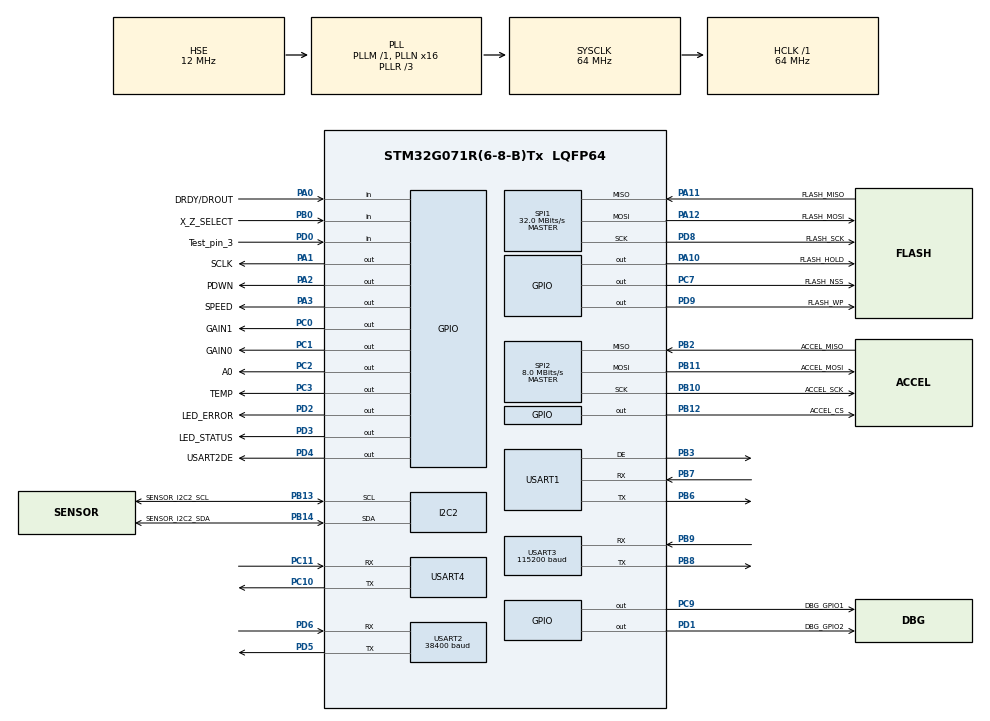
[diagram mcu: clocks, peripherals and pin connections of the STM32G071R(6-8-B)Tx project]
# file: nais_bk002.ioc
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FREERTOS.Tasks01=debugTask,55,384,StartDebugTask,Default,NULL,Dynamic,NULL,NULL;rxCommandsTask,49,384,StartTaskRxCommands,Default,NULL,Dynamic,NULL,NULL;accelTask,51,1024,StartTaskAccelerometer,Default,NULL,Dynamic,NULL,NULL;sensorsPolling,55,384,StartSensorsPolling,Default,NULL,Dynamic,NULL,NULL;ADS1232Task,50,256,StartADS1232Task,Default,NULL,Dynamic,NULL,NULL
FREERTOS.Timers01=maximumsPeriodTimer,maximumsPeriodTimer_callback,osTimerPeriodic,Default,NULL,Dynamic,NULL
FREERTOS.configENABLE_FPU=1
FREERTOS.configMINIMAL_STACK_SIZE=256
FREERTOS.configTIMER_TASK_PRIORITY=0
FREERTOS.configTOTAL_HEAP_SIZE=13312
FREERTOS.configUSE_NEWLIB_REENTRANT=1
FREERTOS.configUSE_PREEMPTION=1
I2C2.Analog_Filter=I2C_ANALOGFILTER_ENABLE
I2C2.Timing=0x10707DBC
Mcu.Family=STM32G0
Mcu.Name=STM32G071R(6-8-B)Tx
Mcu.Package=LQFP64
NVIC.TIM17_IRQn=true\:3\:0\:false\:false\:true\:false\:false\:true\:true
NVIC.TIM2_IRQn=true\:3\:0\:true\:false\:true\:true\:true\:true\:true
NVIC.TimeBase=TIM17_IRQn
NVIC.TimeBaseIP=TIM17
NVIC.USART1_IRQn=true\:3\:0\:false\:false\:true\:true\:true\:true\:true
NVIC.USART2_IRQn=true\:3\:0\:true\:false\:true\:true\:true\:true\:true
NVIC.USART3_4_LPUART1_IRQn=true\:3\:0\:false\:false\:true\:true\:true\:true\:true
PA0.GPIO_Label=DRDY/DROUT
PA0.Signal=GPIO_Input
PA1.GPIO_Label=SCLK
PA1.GPIO_PuPd=GPIO_PULLDOWN
PA1.PinState=GPIO_PIN_RESET
PA1.Signal=GPIO_Output
PA10.GPIO_Label=FLASH_HOLD
PA10.Signal=GPIO_Output
PA11\ [PA9].GPIO_Label=FLASH_MISO
PA11\ [PA9].GPIO_Speed=GPIO_SPEED_FREQ_VERY_HIGH
PA11\ [PA9].Mode=Full_Duplex_Master
PA11\ [PA9].Signal=SPI1_MISO
PA12\ [PA10].GPIO_Label=FLASH_MOSI
PA12\ [PA10].GPIO_Speed=GPIO_SPEED_FREQ_VERY_HIGH
PA12\ [PA10].Mode=Full_Duplex_Master
PA12\ [PA10].Signal=SPI1_MOSI
PA13.Mode=Serial_Wire
PA13.Signal=SYS_SWDIO
PA14-BOOT0.Mode=Serial_Wire
PA14-BOOT0.Signal=SYS_SWCLK
PA2.GPIO_Label=PDWN
PA2.GPIO_PuPd=GPIO_PULLUP
PA2.PinState=GPIO_PIN_SET
PA2.Signal=GPIO_Output
PA3.GPIO_Label=SPEED
PA3.GPIO_PuPd=GPIO_PULLDOWN
PA3.PinState=GPIO_PIN_RESET
PA3.Signal=GPIO_Output
PB0.GPIO_Label=X_Z_SELECT
PB0.GPIO_PuPd=GPIO_PULLUP
PB0.Signal=GPIO_Input
PB10.GPIO_Label=ACCEL_SCK
PB10.GPIO_Speed=GPIO_SPEED_FREQ_VERY_HIGH
PB10.Mode=Full_Duplex_Master
PB10.Signal=SPI2_SCK
PB11.GPIO_Label=ACCEL_MOSI
PB11.GPIO_Speed=GPIO_SPEED_FREQ_VERY_HIGH
PB11.Mode=Full_Duplex_Master
PB11.Signal=SPI2_MOSI
PB12.GPIO_Label=ACCEL_CS
PB12.Signal=GPIO_Output
PB13.GPIO_Label=SENSOR_I2C2_SCL
PB13.Mode=I2C
PB13.Signal=I2C2_SCL
PB14.GPIO_Label=SENSOR_I2C2_SDA
PB14.Mode=I2C
PB14.Signal=I2C2_SDA
PB2.GPIO_Label=ACCEL_MISO
PB2.GPIO_Speed=GPIO_SPEED_FREQ_VERY_HIGH
PB2.Mode=Full_Duplex_Master
PB2.Signal=SPI2_MISO
PB3.Mode=Hardware Flow Control (RS485)
PB3.Signal=USART1_DE
PB6.Mode=Asynchronous
PB6.Signal=USART1_TX
PB7.Mode=Asynchronous
PB7.Signal=USART1_RX
PB8.Mode=Asynchronous
PB8.Signal=USART3_TX
PB9.Mode=Asynchronous
PB9.Signal=USART3_RX
PC0.GPIO_Label=GAIN1
PC0.GPIO_PuPd=GPIO_PULLUP
PC0.PinState=GPIO_PIN_SET
PC0.Signal=GPIO_Output
PC1.GPIO_Label=GAIN0
PC1.GPIO_PuPd=GPIO_PULLUP
PC1.PinState=GPIO_PIN_SET
PC1.Signal=GPIO_Output
PC10.Mode=Asynchronous
PC10.Signal=USART4_TX
PC11.Mode=Asynchronous
PC11.Signal=USART4_RX
PC2.GPIO_Label=A0
PC2.GPIO_PuPd=GPIO_PULLDOWN
PC2.Signal=GPIO_Output
PC3.GPIO_Label=TEMP
PC3.GPIO_PuPd=GPIO_PULLDOWN
PC3.PinState=GPIO_PIN_RESET
PC3.Signal=GPIO_Output
PC7.GPIO_Label=FLASH_NSS
PC7.Signal=GPIO_Output
PC9.GPIO_Label=DBG_GPIO1
PC9.GPIO_Speed=GPIO_SPEED_FREQ_VERY_HIGH
PC9.Signal=GPIO_Output
PD0.GPIO_Label=Test_pin_3
PD0.GPIO_PuPd=GPIO_PULLUP
PD0.Signal=GPIO_Input
PD1.GPIO_Label=DBG_GPIO2
PD1.GPIO_Speed=GPIO_SPEED_FREQ_VERY_HIGH
PD1.Signal=GPIO_Output
PD2.GPIO_Label=LED_ERROR
PD2.Signal=GPIO_Output
PD3.GPIO_Label=LED_STATUS
PD3.Signal=GPIO_Output
PD4.GPIO_Label=USART2DE
PD4.GPIO_PuPd=GPIO_PULLDOWN
PD4.Signal=GPIO_Output
PD5.Mode=Asynchronous
PD5.Signal=USART2_TX
PD6.Mode=Asynchronous
PD6.Signal=USART2_RX
PD8.GPIO_Label=FLASH_SCK
PD8.GPIO_Speed=GPIO_SPEED_FREQ_VERY_HIGH
PD8.Mode=Full_Duplex_Master
PD8.Signal=SPI1_SCK
PD9.GPIO_Label=FLASH_WP
PD9.Signal=GPIO_Output
PF0-OSC_IN\ (PF0).Mode=HSE-External-Oscillator
PF0-OSC_IN\ (PF0).Signal=RCC_OSC_IN
PF1-OSC_OUT\ (PF1).Mode=HSE-External-Oscillator
PF1-OSC_OUT\ (PF1).Signal=RCC_OSC_OUT
ProjectManager.HeapSize=0x200
ProjectManager.StackSize=0x400
ProjectManager.TargetToolchain=STM32CubeIDE
RCC.ADCFreq_Value=64000000
RCC.AHBFreq_Value=64000000
RCC.CortexFreq_Value=64000000
RCC.EXTERNAL_CLOCK_VALUE=48000
RCC.EnbaleCSS=true
RCC.HCLKFreq_Value=64000000
RCC.HSE_VALUE=12000000
RCC.HSI_VALUE=16000000
RCC.LSE_VALUE=32768
RCC.PLLN=16
RCC.PLLQ=RCC_PLLQ_DIV6
RCC.PLLR=RCC_PLLR_DIV3
RCC.PLLSourceVirtual=RCC_PLLSOURCE_HSE
RCC.SYSCLKFreq_VALUE=64000000
RCC.SYSCLKSource=RCC_SYSCLKSOURCE_PLLCLK
RCC.VCOOutputFreq_Value=192000000
SPI1.BaudRatePrescaler=SPI_BAUDRATEPRESCALER_2
SPI1.CalculateBaudRate=32.0 MBits/s
SPI1.DataSize=SPI_DATASIZE_8BIT
SPI1.Direction=SPI_DIRECTION_2LINES
SPI1.Mode=SPI_MODE_MASTER
SPI1.VirtualType=VM_MASTER
SPI2.BaudRatePrescaler=SPI_BAUDRATEPRESCALER_8
SPI2.CalculateBaudRate=8.0 MBits/s
SPI2.DataSize=SPI_DATASIZE_8BIT
SPI2.Direction=SPI_DIRECTION_2LINES
SPI2.Mode=SPI_MODE_MASTER
SPI2.VirtualType=VM_MASTER
TIM1.Prescaler=64-1
TIM2.Period=99
TIM2.Prescaler=63
USART1.VirtualMode-Asynchronous=VM_ASYNC
USART1.VirtualMode-Hardware\ Flow\ Control\ (RS485)=VM_ASYNC
USART2.AutoBaudRateEnableParam=UART_ADVFEATURE_AUTOBAUDRATE_DISABLE
USART2.BaudRate=38400
USART2.FIFOMode=FIFOMODE_ENABLE
USART2.Parity=PARITY_EVEN
USART2.RxPinLevelInvertParam=ADVFEATURE_RXINV_DISABLE
USART2.StopBits=STOPBITS_1
USART2.TxPinLevelInvertParam=ADVFEATURE_TXINV_DISABLE
USART2.VirtualMode-Asynchronous=VM_ASYNC
USART2.WordLength=WORDLENGTH_9B
USART3.BaudRate=115200
USART3.StopBits=STOPBITS_1
USART3.VirtualMode-Asynchronous=VM_ASYNC
USART4.VirtualMode-Asynchronous=VM_ASYNC
VP_FREERTOS_VS_CMSIS_V2.Mode=CMSIS_V2
VP_RTC_VS_RTC_Activate.Mode=RTC_Enabled
VP_SYS_VS_DBSignals.Mode=DisableDeadBatterySignals
VP_SYS_VS_tim17.Mode=TIM17
VP_TIM1_VS_ClockSourceINT.Mode=Internal
VP_TIM2_VS_ClockSourceINT.Mode=Internal
board=custom

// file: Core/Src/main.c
/* USER CODE BEGIN Header */
// This is an open source non-commercial project. Dear PVS-Studio, please check it.
// PVS-Studio Static Code Analyzer for C, C++, C#, and Java: https://pvs-studio.com
/**
  ******************************************************************************
  * @file           : main.c
  * @brief          : Main program body
  ******************************************************************************
  * @attention
  *
  * Copyright (c) 2023 STMicroelectronics.
  * All rights reserved.
  *
  * This software is licensed under terms that can be found in the LICENSE file
  * in the root directory of this software component.
  * If no LICENSE file comes with this software, it is provided AS-IS.
  *
  ******************************************************************************
  */
/* USER CODE END Header */
#include "main.h"
#include "cmsis_os.h"
#include "i2c.h"
#include "rtc.h"
#include "spi.h"
#include "tim.h"
#include "usart.h"
#include "gpio.h"

/* USER CODE BEGIN Includes */
#include "hardware_check.h"
#include "debug.h"
#include <string.h>
#include "stm32g0xx_hal_uart.h"
#include "queue.h"
/* USER CODE END Includes */

/* USER CODE BEGIN PD */
//#define DEBUG
//#define EXTENDED_DEBUG
/* USER CODE END PD */

void SystemClock_Config(void);
void MX_FREERTOS_Init(void);

int main(void)
{

  /* MCU Configuration--------------------------------------------------------*/

  /* Reset of all peripherals, Initializes the Flash interface and the Systick. */
  HAL_Init();

  /* Configure the system clock */
  SystemClock_Config();

  /* Initialize all configured peripherals */
  MX_GPIO_Init();
  MX_I2C2_Init();
  MX_SPI1_Init();
  MX_SPI2_Init();
  MX_USART1_UART_Init();
  MX_USART2_UART_Init();
  MX_USART3_UART_Init();
  MX_TIM1_Init();
  MX_RTC_Init();
  MX_USART4_UART_Init();
  MX_TIM2_Init();
  /* USER CODE BEGIN 2 */

 // if(GPIO_PIN_SET == HAL_GPIO_ReadPin(BAUD_SEL_GPIO_Port, BAUD_SEL_Pin))
  //{
//	  HAL_UART_DeInit(&huart2);
//
//	  huart2.Init.BaudRate = 38400;
//
//	  if (HAL_RS485Ex_Init(&huart2, UART_DE_POLARITY_HIGH, 0, 0) != HAL_OK)
//	  {
//	    Error_Handler();
//	  }
//	  if (HAL_UARTEx_SetTxFifoThreshold(&huart2, UART_TXFIFO_THRESHOLD_1_8) != HAL_OK)
//	  {
//	    Error_Handler();
//	  }
//	  if (HAL_UARTEx_SetRxFifoThreshold(&huart2, UART_RXFIFO_THRESHOLD_1_8) != HAL_OK)
//	  {
//	    Error_Handler();
//	  }
//	  if (HAL_UARTEx_EnableFifoMode(&huart2) != HAL_OK)
//	  {
//	    Error_Handler();
//	  }
 // }

 // debug("\r\n\r\nInited\r\n");
 // HAL_UART_Transmit_IT(terminal_uart, "123456789\r\n", 12);
  /* USER CODE END 2 */

  /* Init scheduler */
  osKernelInitialize();

  /* Call init function for freertos objects (in cmsis_os2.c) */
  MX_FREERTOS_Init();

  /* Start scheduler */
  osKernelStart();

  /* We should never get here as control is now taken by the scheduler */

  /* Infinite loop */
  while (1)
  {

  }
}

void SystemClock_Config(void)
{
  RCC_OscInitTypeDef RCC_OscInitStruct = {0};
  RCC_ClkInitTypeDef RCC_ClkInitStruct = {0};

  /** Configure the main internal regulator output voltage
  */
  HAL_PWREx_ControlVoltageScaling(PWR_REGULATOR_VOLTAGE_SCALE1);

  /** Initializes the RCC Oscillators according to the specified parameters
  * in the RCC_OscInitTypeDef structure.
  */
  RCC_OscInitStruct.OscillatorType = RCC_OSCILLATORTYPE_LSI|RCC_OSCILLATORTYPE_HSE;
  RCC_OscInitStruct.HSEState = RCC_HSE_ON;
  RCC_OscInitStruct.LSIState = RCC_LSI_ON;
  RCC_OscInitStruct.PLL.PLLState = RCC_PLL_ON;
  RCC_OscInitStruct.PLL.PLLSource = RCC_PLLSOURCE_HSE;
  RCC_OscInitStruct.PLL.PLLM = RCC_PLLM_DIV1;
  RCC_OscInitStruct.PLL.PLLN = 16;
  RCC_OscInitStruct.PLL.PLLP = RCC_PLLP_DIV2;
  RCC_OscInitStruct.PLL.PLLQ = RCC_PLLQ_DIV6;
  RCC_OscInitStruct.PLL.PLLR = RCC_PLLR_DIV3;
  if (HAL_RCC_OscConfig(&RCC_OscInitStruct) != HAL_OK)
  {
    Error_Handler();
  }

  /** Initializes the CPU, AHB and APB buses clocks
  */
  RCC_ClkInitStruct.ClockType = RCC_CLOCKTYPE_HCLK|RCC_CLOCKTYPE_SYSCLK
                              |RCC_CLOCKTYPE_PCLK1;
  RCC_ClkInitStruct.SYSCLKSource = RCC_SYSCLKSOURCE_PLLCLK;
  RCC_ClkInitStruct.AHBCLKDivider = RCC_SYSCLK_DIV1;
  RCC_ClkInitStruct.APB1CLKDivider = RCC_HCLK_DIV1;

  if (HAL_RCC_ClockConfig(&RCC_ClkInitStruct, FLASH_LATENCY_2) != HAL_OK)
  {
    Error_Handler();
  }

  /** Enables the Clock Security System
  */
  HAL_RCC_EnableCSS();
}

/* USER CODE BEGIN 4 */
uint32_t crc32b(uint8_t *message, size_t size) {
     int i, j;
     uint32_t byte, crc, mask;

     i = 0;
     crc = 0xFFFFFFFF;
     for(int k = 0; k<size;k++) {
        byte = message[k];            // Get next byte.
        crc = crc ^ byte;
        for (j = 7; j >= 0; j--) {    // Do eight times.
           mask = -(crc & 1);
           crc = (crc >> 1) ^ (0xEDB88320 & mask);
        }
        i = i + 1;
     }
     return ~crc;
  }

/* USER CODE END 4 */

void HAL_TIM_PeriodElapsedCallback(TIM_HandleTypeDef *htim)
{
  if (htim->Instance == TIM17) {
    HAL_IncTick();
  }
  /* USER CODE BEGIN Callback 1 */
  if (htim->Instance == TIM2) {

  	  Timer_Event();
  }
  /* USER CODE END Callback 1 */
}

void Error_Handler(void)
{
  /* USER CODE BEGIN Error_Handler_Debug */
  /* User can add his own implementation to report the HAL error return state */
	__disable_irq();
	HAL_PWR_EnableBkUpAccess();
	HAL_RTCEx_BKUPWrite(&hrtc, RTC_BKP_DR0, 0xAAAA);

	debug("==========\r\n");
	debug("ERROR HANDLER\r\n");
	debug("==========\r\n");

	send_all_debug_buffer_blocking();

	HAL_GPIO_WritePin(LED_ERROR_GPIO_Port, LED_ERROR_Pin, GPIO_PIN_SET);

	HAL_NVIC_SystemReset();

  while (1)
  {
  }
  /* USER CODE END Error_Handler_Debug */
}

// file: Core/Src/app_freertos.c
/* USER CODE BEGIN Header */
// This is an open source non-commercial project. Dear PVS-Studio, please check it.
// PVS-Studio Static Code Analyzer for C, C++, C#, and Java: https://pvs-studio.com
/**
 ******************************************************************************
 * File Name          : app_freertos.c
 * Description        : Code for freertos applications
 ******************************************************************************
 * @attention
 *
 * Copyright (c) 2023 STMicroelectronics.
 * All rights reserved.
 *
 * This software is licensed under terms that can be found in the LICENSE file
 * in the root directory of this software component.
 * If no LICENSE file comes with this software, it is provided AS-IS.
 *
 ******************************************************************************
 */
/* USER CODE END Header */

#include "FreeRTOS.h"
#include "task.h"
#include "main.h"
#include "cmsis_os.h"

/* USER CODE BEGIN Includes */
#include "spi.h"
#include "i2c.h"
#include "usart.h"

#include "hardware_check.h"
#include "stm32g0xx_it.h"
#include <string.h>
#include <stdio.h>
#include <stdint.h>

#include <math.h>
#include "MyFlash.h"
#include <stdlib.h>

#include "lis331dlh.h"
#include "calc_length.h"
#include "debug.h"

#include "lps22.h"
#include "hdc1080.h"
#include "sensors_state.h"

#include <stdbool.h>
#include "rtc.h"
#include "ADS1232.h"
#include "queue.h"
/* USER CODE END Includes */

/* USER CODE BEGIN PTD */
typedef enum {
	PARSER_S4x = 0,
		PARSER_S3x,
		PARSER_Sxx,
		PARSER_S98,
		PARSER_MSV70,
		PARSER_BDR,
		PARSER_MSV7,
		PARSER_IDN7,
		PARSER_ADR7,
		PARSER_ADRNUM,
		PARSER_STP,
		PARSER_EMPT,
		PARSER_COF,
		PARSER_DEGREE
} parser_state_t; //7==?

struct SensorsState sensorsState;

typedef struct {
	uint8_t number;
	uint8_t number_ch;
} platform_switches_state_t;

void ADS_Callback(uint32_t value);
/* USER CODE END PTD */

/* USER CODE BEGIN PD */
#define timer_period 600000
/* USER CODE END PD */

/* USER CODE BEGIN Variables */

uint8_t transmitting_command[22];
uint8_t received_command[22];	//буфер приема данных от терминала
uint16_t received_number = 0;
uint16_t COF = 28;
//uint32_t received_BDR = 0;
uint32_t ads_val;
uint8_t is_data_received = 0;
uint32_t test1 = 0x78730B00;
uint32_t test2 = 0x000B7378;
int IDN=0;
uint8_t RX_command_buff[1]={0};
int RX_command_count=0;
int MSV0 = 0;
int MSV = 0;
int S0X = 0;
int ADR = 0;
volatile uint8_t need_send_pressure = 0;
volatile uint8_t presshum = 0;
//int END_Cmd=0;
parser_state_t terminal_parser_state = PARSER_EMPT;

LPS22HB_sensor LPS_data;

HDC_sensor HDC_config = {
		.temperature_resolution = Temperature_Resolution_14_bit,
		.humidity_resolution = Humidity_Resolution_14_bit,
};

lis331dlh_t config = {
	.data_rate = DATA_RATE_100,
	.range = FULL_SCALE_2G,
};

platform_switches_state_t platform_number= {'0','3'};

//const char str_idn[]="HBM,C16iC3/30t     ,3319402,P80\r\n";
struct sensor_inf {
	uint8_t platform_adr[2];
	uint32_t received_BDR;
	//uint8_t crc_platform;
} sensor_inf __attribute__((aligned(8)));
int16_t number_sn = 0;
int offset = 0;
uint16_t serial_number =0;// СЕР�?ЙНЫЙ НОМЕР ПЛАТЫ (от 0 до 65535 включительно)
int16_t serial_number_control=0;
bool is_error = 0;
bool case_opened = 0;

bool period_expired = false;

float maximum_move_in_period = 0;
float max_acceleration_in_period = 0;

extern TIM_HandleTypeDef htim2;
xQueueHandle g_mesQueue;
/* USER CODE END Variables */
/* Definitions for debugTask */
osThreadId_t debugTaskHandle;
const osThreadAttr_t debugTask_attributes = {
  .name = "debugTask",
  .priority = (osPriority_t) osPriorityRealtime7,
  .stack_size = 384 * 4
};
/* Definitions for rxCommandsTask */
osThreadId_t rxCommandsTaskHandle;
const osThreadAttr_t rxCommandsTask_attributes = {
  .name = "rxCommandsTask",
  .priority = (osPriority_t) osPriorityRealtime1,
  .stack_size = 384 * 4
};
/* Definitions for accelTask */
osThreadId_t accelTaskHandle;
const osThreadAttr_t accelTask_attributes = {
  .name = "accelTask",
  .priority = (osPriority_t) osPriorityRealtime3,
  .stack_size = 1024 * 4
};
/* Definitions for sensorsPolling */
osThreadId_t sensorsPollingHandle;
const osThreadAttr_t sensorsPolling_attributes = {
  .name = "sensorsPolling",
  .priority = (osPriority_t) osPriorityRealtime7,
  .stack_size = 384 * 4
};
/* Definitions for ADS1232Task */
osThreadId_t ADS1232TaskHandle;
const osThreadAttr_t ADS1232Task_attributes = {
  .name = "ADS1232Task",
  .priority = (osPriority_t) osPriorityRealtime2,
  .stack_size = 256 * 4
};
/* Definitions for maximumsPeriodTimer */
osTimerId_t maximumsPeriodTimerHandle;
const osTimerAttr_t maximumsPeriodTimer_attributes = {
  .name = "maximumsPeriodTimer"
};

/* USER CODE BEGIN FunctionPrototypes */
void check_errors();
void check_need_send_pressure() {

	// с вероятностью 50% шлётся либо давление, либо влажность
	// можно сделать с помощью need_send_pressure, но его нужно сделать volatile
	if (1 == need_send_pressure) {
		// из hPa в атм
		float pressure = LPS_data.last_pressure / 1000;
		pressure = fmax(pressure, 0.5);
		pressure = fmin(pressure, 2.0);

		presshum = 128 + ((pressure - 0.5) / 1.5f * 100); // 1 деление = 0.015 атмосферы

		need_send_pressure = 0;

	}
	else {
		presshum = HDC_config.last_humidity;
		need_send_pressure = 1;
	}
}
void get_platform_number() {

//	platform_number.number |= (!HAL_GPIO_ReadPin(PLATFORM_ADDR_1_GPIO_Port, PLATFORM_ADDR_1_Pin) << 0);
//	platform_number.number |= (!HAL_GPIO_ReadPin(PLATFORM_ADDR_2_GPIO_Port, PLATFORM_ADDR_2_Pin) << 1);
//	platform_number.number |= (!HAL_GPIO_ReadPin(PLATFORM_ADDR_3_GPIO_Port, PLATFORM_ADDR_3_Pin) << 2);
//	platform_number.number |= (!HAL_GPIO_ReadPin(PLATFORM_ADDR_4_GPIO_Port, PLATFORM_ADDR_4_Pin) << 3);
//
//	for (int i = 0; i < 4; i++) {
//		if (platform_number.number & (1 << i)) {
//			platform_number.number = i;
//			break;
//		}
//	}
//
//	platform_number.number_ch = '0' + platform_number.number;
//
//	debug("PLATFORM NUMBER: %d \r\n", platform_number.number);
}

/* USER CODE END FunctionPrototypes */

void StartDebugTask(void *argument);
void StartTaskRxCommands(void *argument);
void StartTaskAccelerometer(void *argument);
void StartSensorsPolling(void *argument);
void StartADS1232Task(void *argument);
void maximumsPeriodTimer_callback(void *argument);

void MX_FREERTOS_Init(void); /* (MISRA C 2004 rule 8.1) */

void MX_FREERTOS_Init(void) {
  /* USER CODE BEGIN Init */

	g_mesQueue = xQueueCreate(2, 22);
	serial_number =(uint16_t)(crc32b((uint8_t *)UID_BASE, 8));
	serial_number = abs((int16_t)serial_number);
	serial_number_control = abs((int16_t)serial_number);
	ReadDeviceAddressOffset((uint8_t*) &sensor_inf, sizeof(sensor_inf), offset);
	//memset(transmitting_command, 0, sizeof(transmitting_command));
	while (sensor_inf.platform_adr[0]!=0xFF)
	{
		if(offset>=248){
//
			offset=0;
			clearFlash();
			break;
		}
		offset+=sizeof(sensor_inf);
		ReadDeviceAddressOffset((uint8_t*) &sensor_inf, sizeof(sensor_inf), offset);
	}
	if(offset<8){

		//ReadDeviceAddressOffset((uint8_t*) &sensor_inf, sizeof(sensor_inf), offset);
		memset(&sensor_inf, 0, sizeof(sensor_inf));
		sensor_inf.platform_adr[0]='0';
		sensor_inf.platform_adr[1]='1';
		number_sn = 1;
		sensor_inf.received_BDR=38400;
		WriteDeviceAddressOffset((uint8_t*) &sensor_inf, sizeof(sensor_inf), offset);
		offset+=sizeof(sensor_inf);
	}
	if(offset>=8){

		offset-=sizeof(sensor_inf);
		ReadDeviceAddressOffset((uint8_t*) &sensor_inf, sizeof(sensor_inf), offset);
		offset+=sizeof(sensor_inf);
		number_sn = 0;
		for (int i = 0; i <= 1; i++) {
			if (sensor_inf.platform_adr[i] >= '0'
					&& sensor_inf.platform_adr[i] <= '9') {
				number_sn = number_sn * 10 + (sensor_inf.platform_adr[i] - '0');
			}
		}
	}

	 while (!(USART2->ISR & USART_ISR_TC)) {
	 // Ожидание, пока передача завершится
	 }

	 // Отключаем USART перед изменением настроек
	 USART2->CR1 &= ~USART_CR1_UE;
     // �?зменение скорости
	 USART2->BRR = (SystemCoreClock+12800) / sensor_inf.received_BDR;
	 // Включаем USART обратно
	 USART2->CR1 |= USART_CR1_UE;

	//ReadDeviceAddressOffset((uint8_t*) &sensor_inf, sizeof(sensor_inf), offset);
	//offset+=sizeof(sensor_inf);
	//clearFlash();
	//WriteDeviceAddressOffset((uint8_t*)&sensor_inf, sizeof(sensor_inf), offset);
	sensorsState.hdc_fail = 0;
	sensorsState.lps_fail = 0;
	 set_ADS_pins(GPIOA,
	  			  GPIOA,
	  			  GPIOA,
	  			  GPIO_PIN_0,
	  			  GPIO_PIN_1,
				  GPIO_PIN_2,
				  &ADS_Callback);
  /* USER CODE END Init */

  /* Create the timer(s) */
  /* creation of maximumsPeriodTimer */
  maximumsPeriodTimerHandle = osTimerNew(maximumsPeriodTimer_callback, osTimerPeriodic, NULL, &maximumsPeriodTimer_attributes);

  /* Create the thread(s) */
  /* creation of debugTask */
  debugTaskHandle = osThreadNew(StartDebugTask, NULL, &debugTask_attributes);

  /* creation of rxCommandsTask */
  rxCommandsTaskHandle = osThreadNew(StartTaskRxCommands, NULL, &rxCommandsTask_attributes);

  /* creation of accelTask */
  accelTaskHandle = osThreadNew(StartTaskAccelerometer, NULL, &accelTask_attributes);

  /* creation of sensorsPolling */
  sensorsPollingHandle = osThreadNew(StartSensorsPolling, NULL, &sensorsPolling_attributes);

  /* creation of ADS1232Task */
  ADS1232TaskHandle = osThreadNew(StartADS1232Task, NULL, &ADS1232Task_attributes);

}

void StartDebugTask(void *argument)
{
  /* USER CODE BEGIN StartDebugTask */

  /* Infinite loop */
	check_errors();

	get_platform_number();

	osTimerStart(maximumsPeriodTimerHandle, timer_period);	// запуск таймера с периодом срабатывания 10 минут
//	debug("\r\nSN: %05d\r\n", serial_number);
//	debug("\r\nMax mediums timer set to %d ms\r\n", timer_period);

	if (!debug_enabled()) {

		uint8_t message_sn[64] = { 0, };
		memset(message_sn, 0, sizeof(message_sn));

		int size = snprintf((char *)message_sn, sizeof(message_sn), "SN: %05d \r\n", serial_number);

		if (size > 0) {
			HAL_UART_Transmit(debug_uart, message_sn, size, 100);
		}

	}

	vTaskDelay(100);

	for (;;) {

		send_debug_messages();

		if (!debug_enabled()) {

			float max_acceleration = round_and_limit_float(get_real_acc());

			float maximum_move = round_and_limit_float(get_real_length());

			uint8_t message[256] = { 0, };
			memset(message, 0, sizeof(message));

			int size = snprintf((char *)message, sizeof(message),
				"ACCEL: 0x%08X, LENGTH: 0x%08X, MAX_ACCEL: 0x%08X, MAX_LENGTH: 0x%08X, PRESSURE: %.2f HUMIDITY: %d, TEMP %.2f\r\n\nACCEL: %06.2f,     LENGTH: %06.2f,     MAX_ACCEL: %06.2f,     MAX_LENGTH: %06.2f\r\n\n",
				*(uint32_t*)&max_acceleration, *(uint32_t*)&maximum_move,
				*(uint32_t*)&max_acceleration_in_period, *(uint32_t*)&maximum_move_in_period,
				(LPS_data.last_pressure / 1024.0), HDC_config.last_humidity,
				HDC_config.last_temperature,
				max_acceleration, maximum_move,
				max_acceleration_in_period, maximum_move_in_period);

//			if (size > 0) {
//			//	HAL_UART_Transmit(debug_uart, message, size, 100);
//			}

		}

		HAL_GPIO_TogglePin(LED_STATUS_GPIO_Port, LED_STATUS_Pin);
		vTaskDelay(100);
	}

  /* USER CODE END StartDebugTask */
}

void StartTaskRxCommands(void *argument) {
	/* USER CODE BEGIN StartTaskRxCommands */
	/* Infinite loop */
	uint32_t ulNotifiedValue;
	const TickType_t xBlockTime = pdMS_TO_TICKS(500);
	memset(received_command, 0x0, sizeof(received_command));
	memset(transmitting_command, 0x0, sizeof(transmitting_command));

	//receive(terminal_uart, received_command, 1);
	receive(terminal_uart, RX_command_buff, 1);
	for (;;) {

//		    ulNotifiedValue = ulTaskNotifyTake( pdFALSE, xBlockTime );

		if (uxQueueMessagesWaiting(g_mesQueue) == 0) {
			continue;
		}

		uint8_t receive_buf[22];
		xQueueReceive(g_mesQueue, receive_buf, 0);
		HAL_GPIO_WritePin(LED_STATUS_GPIO_Port, LED_STATUS_Pin, GPIO_PIN_SET);

		debug("Received <<%s>>\r\n", receive_buf);
//			if (strlen(receive_buf)==0){
//
//				osDelay(1);
//			}

		if (terminal_parser_state == PARSER_S3x) { // если посылка S3x;
			// нахождение максимума и ограничение максимальным значением (значение 1 байта)
			uint8_t maximum = round(
					fmax(round_and_limit(get_max_positive_move() * 10 / 2, 255),
							round_and_limit(get_max_negative_move() * 10 / 2,
									255)));

			switch (receive_buf[2]) // Анализируем третий символ, отвечающий за конкретную команду
			{
			case '3':	          	 	//	Запрос ID
				memcpy(transmitting_command, "BTS4", 4);

				HAL_GPIO_WritePin(GPIOD, GPIO_PIN_4, GPIO_PIN_SET);

				HAL_UART_Transmit_IT(terminal_uart, transmitting_command, 4);
				terminal_parser_state = PARSER_EMPT;
				debug("Transmit to terminal: <%02x %02x %02x %02x>",
						transmitting_command[0], transmitting_command[1],
						transmitting_command[2], transmitting_command[3]);
				break;

			case '6'://	запрос макс значений перемещщения, температуры и влаги
				check_need_send_pressure();

				transmitting_command[0] = maximum;//сюда вставляем максимальное значение перемещения в плюс умноженное на 10 (плюс и минус - это число абсолютного смешения платформы от центра до переднего и заднего края, умноженное на 10)
				transmitting_command[1] = maximum; //сюда вставляем максимальное значение перемещения в минус умноженное на 10
				transmitting_command[2] = HDC_config.last_temperature;
				transmitting_command[3] = presshum;

				HAL_GPIO_WritePin(GPIOD, GPIO_PIN_4, GPIO_PIN_SET);

				HAL_UART_Transmit_IT(terminal_uart, transmitting_command, 4);
				terminal_parser_state = PARSER_EMPT;
				debug("Transmit to terminal: <%02x %02x %02x %02x>\r\n",
						transmitting_command[0], transmitting_command[1],
						transmitting_command[2], transmitting_command[3]);
				//					HAL_GPIO_TogglePin(DBG_GPIO3_GPIO_Port, DBG_GPIO3_Pin);
				break;

			case '8': 	//	запрос макс значений перемещения и ускорения
				transmitting_command[0] = maximum; //сюда вставляем максимальное значение перемещения в плюс умноженное на 10
				transmitting_command[1] = maximum; //сюда вставляем максимальное значение перемещения в минус умноженное на 10
				transmitting_command[2] = round_and_limit(
						get_max_positive_acceleration() * 10, 255.0f); //сюда вставляем максимальное значение ускорения в плюс умноженное на 10
				transmitting_command[3] = round_and_limit(
						get_max_negative_acceleration() * 10, 255.0f); //сюда вставляем максимальное значение ускорения в минус умноженное на 10

				HAL_GPIO_WritePin(GPIOD, GPIO_PIN_4, GPIO_PIN_SET);
				HAL_UART_Transmit_IT(terminal_uart, transmitting_command, 4);
				terminal_parser_state = PARSER_EMPT;
				debug("Transmit to terminal: <%02x %02x %02x %02x>\r\n",
						transmitting_command[0], transmitting_command[1],
						transmitting_command[2], transmitting_command[3]);

				break;

			case '0':	//	запрос серии данных
			case '2':	//	запрос скорости связи 9600

				// DeInit и Init UARTа вешает обмен до ресета, поэтому скорость меняем прямой записью в регистр
				//terminal_uart->Instance->BRR = (uint32_t)(UART_DIV_SAMPLING16(64000000, 9600, 1));
				break;

			case '4':	//	Запоминание 0 ускорения (датчик вертикально)
			case '5':	//	Калибровка 1g (датчик горизонтально)
			case '7'://	запрос максимального значения перемещения, ускорения, температуры и влаги
			case '9':	//	запрос скорости связи 19200

				//terminal_uart->Instance->BRR = (uint32_t)(UART_DIV_SAMPLING16(64000000, 19200, 1));
				break;
			}
		}

		if (terminal_parser_state == PARSER_S4x) { // если посылка S4x;
			int16_t number_bk = 0;
			int END_Cmd = 0;
			for (int i = 0; i < 22; i++) {
				if (receive_buf[i] != ';') {

					END_Cmd = END_Cmd + 1;
				}
				if (receive_buf[i] == ';') {

					break;
				}
			}

			for (int i = 2; i < END_Cmd; i++) {
				if (receive_buf[i] >= '0' && receive_buf[i] <= '9') {
					number_bk = number_bk * 10 + (receive_buf[i] - '0');
				}

			}

			if (number_bk == number_sn - 1) { //другое условие

				float maximum = round_and_limit_float(get_real_length());

				float max_acceleration = round_and_limit_float(get_real_acc());

				uint8_t flags = 0;
				flags |= (case_opened << 0);
				flags |= (is_error << 1);
				if (is_error)
					is_error = false; // сбрасываем флаг ошибки после отправки на терминал

				transmitting_command[0] = HDC_config.last_temperature;
				transmitting_command[1] = HDC_config.last_humidity;
				transmitting_command[2] = flags;
				transmitting_command[3] = (((LPS_data.last_pressure / 1000)
						- 0.5) / 1.5 * 100);

				memcpy(&transmitting_command[4], &maximum, 4);
				memcpy(&transmitting_command[8], &max_acceleration, 4);
				memcpy(&transmitting_command[12], &maximum_move_in_period, 4);
				memcpy(&transmitting_command[16], &max_acceleration_in_period,
						4);
				memcpy(&transmitting_command[20], &serial_number_control, 2);

				HAL_GPIO_WritePin(GPIOD, GPIO_PIN_4, GPIO_PIN_SET);

				HAL_UART_Transmit_IT(terminal_uart, transmitting_command, 22);

				//memset(transmitting_command, 0, sizeof(transmitting_command));
				//	memset(receive_buf, 0, sizeof(receive_buf));
				terminal_parser_state = PARSER_EMPT;

				debug(
						"Transmit to terminal: <%02x %02x %02x %02x  %02x %02x %02x %02x  %02x %02x %02x %02x  %02x %02x %02x %02x  %02x %02x %02x %02x  %02x %02x>",
						transmitting_command[0], transmitting_command[1],
						transmitting_command[2], transmitting_command[3],
						transmitting_command[4], transmitting_command[5],
						transmitting_command[6], transmitting_command[7],
						transmitting_command[8], transmitting_command[9],
						transmitting_command[10], transmitting_command[11],
						transmitting_command[12], transmitting_command[13],
						transmitting_command[14], transmitting_command[15],
						transmitting_command[16], transmitting_command[17],
						transmitting_command[18], transmitting_command[19],
						transmitting_command[20], transmitting_command[21]);
			}
		}

		if (terminal_parser_state == PARSER_Sxx) { // если посылка S0x;

			uint8_t flags = 0;
			flags |= (case_opened << 0);
			flags |= (is_error << 1);
			if (is_error)
				is_error = false; // сбрасываем флаг ошибки после отправки на терминал

			if (MSV == 0 && ADR == 0 && MSV0 == 0) {

				IDN = 1;

			}

			if (MSV0 == 1 && ADR == 0) { // Анализируем третий символ, отвечающий за конкретный БК
				IDN = 0;
				uint8_t buf[4] = { 0, 0, 0, 0 };
				//uint32_t val = (ads_val*100)/421 ;
				//uint32_t val = (8388607*100)/421 ;
				//uint32_t val =  1401366;
				uint32_t val = (ads_val);
				//	отправ	EE FF 0B 00
				//0x78730B00;

				if (COF == 28) {
					buf[3] = (val >> (2 * 8)) & 0xFF;
					buf[2] = (val >> (1 * 8)) & 0xFF;
					buf[1] = (val >> (0 * 8)) & 0xFF;
					buf[0] = buf[1] ^ buf[2] ^ buf[3];

					HAL_GPIO_WritePin(GPIOD, GPIO_PIN_4, GPIO_PIN_SET);

					HAL_UART_Transmit_IT(terminal_uart, buf, 4);
					debug("Transmit to terminal: <%x>", buf);

				}
				if (COF == 3) {
					char SOX_VAL[50];
					sprintf(SOX_VAL, "%lu", val);

					HAL_GPIO_WritePin(GPIOD, GPIO_PIN_4, GPIO_PIN_SET);
					HAL_UART_Transmit_IT(terminal_uart, (uint8_t*) SOX_VAL,
							strlen(SOX_VAL));

					debug("Transmit to terminal: <%x>", buf);

				}

			}
			if (ADR == 1 && MSV0 == 0) {// Анализируем третий символ, отвечающий за конкретный БК
				char str_adr[20];
				sprintf(str_adr, "%c%c\r\n", sensor_inf.platform_adr[0],
						sensor_inf.platform_adr[1]);

				HAL_GPIO_WritePin(GPIOD, GPIO_PIN_4, GPIO_PIN_SET);
				HAL_UART_Transmit_IT(terminal_uart, (uint8_t*) str_adr,
						strlen(str_adr));
				number_sn = 0;
				for (int i = 0; i <= 1; i++) {
					if (sensor_inf.platform_adr[i] >= '0'
							&& sensor_inf.platform_adr[i] <= '9') {
						number_sn = number_sn * 10 + (sensor_inf.platform_adr[i] - '0');
					}

				}

				ADR = 0;
			}
			if (MSV == 1 && ADR == 0 && MSV0 == 0) {// Анализируем третий символ, отвечающий за конкретный БК

				uint8_t buf[4] = { 0, 0, 0, 0 };
				//uint32_t val = (ads_val*100)/421 ;
				//uint32_t val = (8388607*100)/421 ;
				//uint32_t val =  1401366;
				uint32_t val = (ads_val);
				//	отправ	EE FF 0B 00
				//0x78730B00;
				if (COF == 28) {
					buf[3] = (val >> (2 * 8)) & 0xFF;
					buf[2] = (val >> (1 * 8)) & 0xFF;
					buf[1] = (val >> (0 * 8)) & 0xFF;
					buf[0] = buf[1] ^ buf[2] ^ buf[3];

					HAL_GPIO_WritePin(GPIOD, GPIO_PIN_4, GPIO_PIN_SET);

					HAL_UART_Transmit_IT(terminal_uart, buf, 4);
					debug("Transmit to terminal: <%x>", buf);

				}
				if (COF == 3) {
					char SOX_VAL[50];
					sprintf(SOX_VAL, "%lu", val);

					HAL_GPIO_WritePin(GPIOD, GPIO_PIN_4, GPIO_PIN_SET);
					HAL_UART_Transmit_IT(terminal_uart, (uint8_t*) SOX_VAL,
							strlen(SOX_VAL));

					debug("Transmit to terminal: <%x>", buf);

				}
				S0X = 1;
				MSV = 0;
			}

			//		memset(receive_buf, 0, sizeof(receive_buf));
			terminal_parser_state = PARSER_EMPT;
		}

		if (terminal_parser_state == PARSER_MSV70) { // если посылка Sxx;

			uint8_t flags = 0;
			flags |= (case_opened << 0);
			flags |= (is_error << 1);
			if (is_error)
				is_error = false; // сбрасываем флаг ошибки после отправки на терминал

			MSV0 = 1;
			//HAL_UART_Transmit_IT(terminal_uart, &MSV, 1);
			debug("Transmit to terminal: <%x>", &MSV0);
			//	memset(receive_buf, 0, sizeof(receive_buf));
			terminal_parser_state = PARSER_EMPT;

		}

		if (terminal_parser_state == PARSER_COF) {
			int END_Cmd = 0;
			uint8_t flags = 0;
			flags |= (case_opened << 0);
			flags |= (is_error << 1);
			if (is_error)
				is_error = false; // сбрасываем флаг ошибки после отправки на терминал

			COF = 0;

			for (int i = 0; i < 22; i++) {
				if (receive_buf[i] != ';') {
					END_Cmd = END_Cmd + 1;
				}
				if (receive_buf[i] == ';') {
					break;;
				}
			}
			for (int i = 3; i < END_Cmd; i++) {
				if (receive_buf[i] >= '0' && receive_buf[i] <= '9') {
					COF = COF * 10 + (receive_buf[i] - '0');
				}
			}
			//HAL_UART_Transmit_IT(terminal_uart, &MSV, 1);
			debug("Transmit to terminal: <%x>", &MSV);
			//	memset(receive_buf, 0, sizeof(receive_buf));
			terminal_parser_state = PARSER_EMPT;

		}

			if (terminal_parser_state == PARSER_MSV7) { // если посылка Sxx;

				uint8_t flags = 0;
				flags |= (case_opened << 0);
				flags |= (is_error << 1);
				if (is_error)
					is_error = false; // сбрасываем флаг ошибки после отправки на терминал

				MSV = 1;

				//HAL_UART_Transmit_IT(terminal_uart, &MSV, 1);
				debug("Transmit to terminal: <%x>", &MSV);
				//	memset(receive_buf, 0, sizeof(receive_buf));
				terminal_parser_state = PARSER_EMPT;

			}

		if (terminal_parser_state == PARSER_STP) { // если посылка Sxx;
			uint8_t flags = 0;
			flags |= (case_opened << 0);
			flags |= (is_error << 1);
			if (is_error)
				is_error = false; // сбрасываем флаг ошибки после отправки на терминал

			// Анализируем третий символ, отвечающий за конкретный БК
			ADR = 0;
			MSV = 0;
			MSV0 = 0;
			//HAL_UART_Transmit_IT(terminal_uart, &MSV, 1);
			//	memset(receive_buf, 0, sizeof(receive_buf));
			terminal_parser_state = PARSER_EMPT;

		}

		if (terminal_parser_state == PARSER_ADR7) { // если посылка S0x;

			uint8_t flags = 0;
			flags |= (case_opened << 0);
			flags |= (is_error << 1);
			if (is_error)
				is_error = false; // сбрасываем флаг ошибки после отправки на терминал

			// Анализируем третий символ, отвечающий за конкретный БК
			ADR = 1;
			//	memset(receive_buf, 0, sizeof(receive_buf));
			terminal_parser_state = PARSER_EMPT;

		}

		if (terminal_parser_state == PARSER_ADRNUM) { // если посылка S0x;

			uint8_t flags = 0;
			flags |= (case_opened << 0);
			flags |= (is_error << 1);
			if (is_error)
				is_error = false; // сбрасываем флаг ошибки после отправки на терминал
			received_number = 0;
			for (int i = 7; i < 14; i++) {
				if (receive_buf[i] >= '0' && receive_buf[i] <= '9') {
					received_number = received_number * 10
							+ (receive_buf[i] - '0');
				}

			}

			// Проверка serial_number
			if (received_number == serial_number) {
				memset(sensor_inf.platform_adr, '0',
						sizeof(sensor_inf.platform_adr));
				sensor_inf.platform_adr[0] = receive_buf[3];
				sensor_inf.platform_adr[1] = receive_buf[4];
				// clearFlash();
				//offset=0;
				if (offset >= 248) {

					offset = 0;
					clearFlash();
				}
				taskENTER_CRITICAL();
				WriteDeviceAddressOffset((uint8_t*) &sensor_inf,
						sizeof(sensor_inf), offset);
				taskEXIT_CRITICAL();

				offset += sizeof(sensor_inf);
			}
			//	 memset(receive_buf, 0, sizeof(receive_buf));
			//sensor_inf.crc_platform=(uint8_t)(crc32b((uint8_t *)sensor_inf.platform_adr, 2));
			terminal_parser_state = PARSER_EMPT;

		}

		if (terminal_parser_state == PARSER_BDR) { // если посылка S0x;
			int END_Cmd = 0;
			uint8_t flags = 0;
			flags |= (case_opened << 0);
			flags |= (is_error << 1);
			if (is_error)
				is_error = false; // сбрасываем флаг ошибки после отправки на терминал
			sensor_inf.received_BDR = 0;

			for (int i = 0; i < 22; i++) {
				if (receive_buf[i] != ';') {
					END_Cmd = END_Cmd + 1;
				}
				if (receive_buf[i] == ';') {
					break;;
				}
			}

			for (int i = 3; i < END_Cmd; i++) {
				if (receive_buf[i] >= '0' && receive_buf[i] <= '9') {
					sensor_inf.received_BDR = sensor_inf.received_BDR * 10
							+ (receive_buf[i] - '0');
				}

			}

			while (!(USART2->ISR & USART_ISR_TC)) {
				// Ожидание, пока передача завершится
			}

			// Отключаем USART перед изменением настроек
			USART2->CR1 &= ~USART_CR1_UE;

			// �?зменение скорости
			USART2->BRR = (SystemCoreClock + 12800) / sensor_inf.received_BDR;

			// Включаем USART обратно
			USART2->CR1 |= USART_CR1_UE;

			taskENTER_CRITICAL();
			WriteDeviceAddressOffset((uint8_t*) &sensor_inf, sizeof(sensor_inf),
					offset);
			taskEXIT_CRITICAL();
			offset += sizeof(sensor_inf);
			//    memset(receive_buf, 0, sizeof(receive_buf));
			terminal_parser_state = PARSER_EMPT;

		}

		if (terminal_parser_state == PARSER_IDN7) { // если посылка S0x;

			uint8_t flags = 0;
			flags |= (case_opened << 0);
			flags |= (is_error << 1);
			if (is_error)
				is_error = false; // сбрасываем флаг ошибки после отправки на терминал
			if (IDN == 1) {
				uint8_t str_idn[50];
				memset(str_idn, 0, sizeof(str_idn));
				sprintf(str_idn, "CAS,BCA5/5kg     ,%d,P80\r\n", serial_number);

				HAL_GPIO_WritePin(GPIOD, GPIO_PIN_4, GPIO_PIN_SET);
				HAL_UART_Transmit_IT(terminal_uart, (uint8_t*) str_idn,
						strlen(str_idn));
				IDN = 0;
				//		memset(receive_buf, 0, sizeof(receive_buf));
				terminal_parser_state = PARSER_EMPT;
				//debug("Transmit to terminal: <%x>", &str_idn);
			}
		}

		if (terminal_parser_state == PARSER_DEGREE) // запрос угла наклона B0x
				{
			uint8_t flags = 0;
			flags |= (case_opened << 0);
			flags |= (is_error << 1);
			if (is_error)
				is_error = false; // сбрасываем флаг ошибки после отправки на терминал

			char str_degree[50];
			memset(str_degree, 0, sizeof(str_degree));
			sprintf(str_degree, "%f\r\n", config.degree);

			//HAL_UART_Transmit_IT(terminal_uart, &MSV, 1);
			debug("Transmit to terminal: <%x>", &str_degree);
			HAL_UART_Transmit_IT(terminal_uart, (uint8_t*) str_degree,
					strlen(str_degree));
			//	memset(receive_buf, 0, sizeof(receive_buf));
			terminal_parser_state = PARSER_EMPT;
		}
		//memset(receive_buf, 0, sizeof(receive_buf));
		//receive(terminal_uart, receive_buf, 1);
		//receive(terminal_uart, RX_command_buff, 1);
		debug("Receive from task\r\n");
	}
	/* USER CODE END StartTaskRxCommands */
}

void StartTaskAccelerometer(void *argument)
{
  /* USER CODE BEGIN StartTaskAccelerometer */
  /* Infinite loop */
	if(lis331dlh_init_spi(&config, ACCELEROMETER_SPI, ACCEL_CS_GPIO_Port, ACCEL_CS_Pin)) {
		//debug("LIS331DLH DOESN'T WORK OR DOESN'T SOLDERED");
		HardFault_Handler();
	}
	lis331dlh_update_config(&config);

//	lis331dlh_print_config(&config);
	// нахождение угла наклона
	find_degree(&config);

	while (1) {

		// проверка готовности
		lis331dlh_read_status(&config);
		check_overrun(&config);

		if (is_measurement_ready(&config)) {
			// обновление данных с датчика ускорения
			lis331dlh_update_accelaration(&config);

			// сброс максимумом и минимумов по таймерам
			reset_move_maximums();
			reset_acceleration_maximums();

			// алгоритм вычисления длины перемещений
			calc_length(&config);
		}

		vTaskDelay(5);

		float maximum = round_and_limit_float(get_real_length());

		float max_acceleration = round_and_limit_float(get_real_acc());

		if(period_expired) {
		//	debug("\r\nTaskAccelerometer: Timer done. current maximum = %f maximum_in_period = %f current max_acceleration = %f max_acceleration_in_period = %f \r\n",
//					maximum, maximum_move_in_period,
//					max_acceleration, max_acceleration_in_period);
//			period_expired = false;
//			maximum_move_in_period = 0;
//			max_acceleration_in_period = 0;
		//	debug("\r\nTaskAccelerometer: Timer resetted. maximum_in_period = %f max_acceleration_in_period = %f \r\n", maximum_move_in_period, max_acceleration_in_period);
		}

		if(maximum > maximum_move_in_period) maximum_move_in_period = maximum;
		if(max_acceleration > max_acceleration_in_period) max_acceleration_in_period = max_acceleration;
	}
  /* USER CODE END StartTaskAccelerometer */
}

void StartSensorsPolling(void *argument)
{
  /* USER CODE BEGIN StartSensorsPolling */
 /* Infinite loop */

	//vTaskDelay(200);
	taskENTER_CRITICAL();
	if(!hdc1080_init(SENSORS_I2C, HDC_config.temperature_resolution, HDC_config.humidity_resolution)) {
		//debug("HDC1080 DOESN'T WORK OR DOESN'T SOLDERED");
		HardFault_Handler();
	}

	if(!lps22hb_init(SENSORS_I2C)) {
		//debug("LPS22HB DOESN'T WORK OR DOESN'T SOLDERED");
		HardFault_Handler();
	}
	taskEXIT_CRITICAL();
			osDelay(200);

	for (;;) {

		uint8_t status = lps22hb_get_status(&config);
		lps22hb_check_pressure_overrun(status);
		lps22hb_check_temperature_overrun(status);

		if (lps22hb_check_pressure_data_available(status) && lps22hb_check_temperature_data_available(status))
		{
			hdc1080_start_measurement(&HDC_config.last_temperature, &HDC_config.last_humidity);
						//debug("HDC1080 TEMP: %f HDC1080 HUMIDITY: %f\n\r",
//								HDC_config.last_temperature,
//								HDC_config.last_humidity);

						LPS_data.last_pressure = lps22hb_read_pressure();
						LPS_data.last_temperature = lps22hb_read_temperature();
						//debug("LPS22HB TEMP: %f LPS22HB PRESSURE: %f\n\r",
//								LPS_data.last_temperature,
//								LPS_data.last_pressure);
//			hdc1080_start_measurement(&HDC_config.last_temperature, &HDC_config.last_humidity);
//			debug("HDC1080 RAW TEMP: 0x%4x RAW HUMIDITY: 0x%4x\r\n",
//					HDC_config.last_temperature,
//					HDC_config.last_humidity);
//
//			LPS_data.last_pressure = lps22hb_read_pressure();
//			LPS_data.last_temperature = lps22hb_read_temperature();
//			debug("LPS22HB RAW TEMP: 0x%4x RAW PRESSURE: 0x%4x\r\n",
//					LPS_data.last_temperature,
//					LPS_data.last_pressure);

			vTaskDelay(1000);
//						char last_temperatureLps_prin[50]; //size of the number
//														int len4 =  sprintf(last_temperatureLps_prin, "tempLPS: %f\n\r", LPS_data.last_temperature);
//
//
//														HAL_UART_Transmit (&huart3, last_temperatureLps_prin, len4, 100);

		}
		else {
			vTaskDelay(10);
		}

//		if(HAL_GPIO_ReadPin(TAMPER_GPIO_Port, TAMPER_Pin) == GPIO_PIN_RESET){
//			case_opened = true;
		//}
	}
  /* USER CODE END StartSensorsPolling */
}

void StartADS1232Task(void *argument)
{
  /* USER CODE BEGIN StartADS1232Task */
  /* Infinite loop */

	HAL_TIM_Base_Start_IT(&htim2);
	Start_read(&htim2, TIM2);

  for(;;)
  {
	 // Start_read(&htim2, TIM2);
	      vTaskDelay(100);

  }
  /* USER CODE END StartADS1232Task */
}

/* maximumsPeriodTimer_callback function */
void maximumsPeriodTimer_callback(void *argument)
{
  /* USER CODE BEGIN maximumsPeriodTimer_callback */
	//debug("\r\n===Timer 10 minutes: reloaded===\r\n");
	period_expired = true;
  /* USER CODE END maximumsPeriodTimer_callback */
}

/* USER CODE BEGIN Application */

void HAL_UART_RxCpltCallback(UART_HandleTypeDef *huart) {//Callback-функция завершения приема данных

	//BaseType_t xHigherPriorityTaskWoken;
	//xHigherPriorityTaskWoken = pdFALSE;

	if (huart == &huart2) {
		//extended_debug("Current state = %d, receive <%c>\r\n", terminal_parser_state, receive_buf[terminal_parser_state]);

//			if (RX_command_buff[0] == 0){
//				osDelay(1);
//			}

		if ((RX_command_buff[0] == 'S' || RX_command_buff[0] == 'M'
				|| RX_command_buff[0] == 'I' || RX_command_buff[0] == 'B'
				|| RX_command_buff[0] == 'A'|| RX_command_buff[0] == 'C') && RX_command_count == 0) {
			received_command[RX_command_count] = RX_command_buff[0];
			RX_command_count = RX_command_count + 1;
		} else if (RX_command_buff[0] != ';' && RX_command_count != 0
				&& RX_command_count <= 17) {
			received_command[RX_command_count] = RX_command_buff[0];
			RX_command_count = RX_command_count + 1;
		} else if (RX_command_buff[0] == ';' && RX_command_count != 0) {
			received_command[RX_command_count] = RX_command_buff[0];
			RX_command_count = 0;

			if (received_command[0] == 'S') {

				//if (received_command[1]=='4'&&received_command[2]==platform_number.number_ch){
				if (received_command[1] == '4') {

					terminal_parser_state = PARSER_S4x;

				} else if (received_command[1] == '3') {

					terminal_parser_state = PARSER_S3x;

				} else if (received_command[1] == sensor_inf.platform_adr[0]
						&& (received_command[2] == (sensor_inf.platform_adr[1]))) {

					terminal_parser_state = PARSER_Sxx;
				} else if (received_command[1] == '9'
						&& received_command[2] == '8') {

					terminal_parser_state = PARSER_S98; //(Ничего не отвечаем)
				} else if (received_command[1] == 'T'
						&& received_command[2] == 'P') {

					terminal_parser_state = PARSER_STP; //(становка передачи сбрасываем MSV?0)
				}
			} else if (received_command[0] == 'M' && received_command[1] == 'S'
					&& received_command[2] == 'V' && received_command[3] == '?'
					&& received_command[4] == '0') {

				terminal_parser_state = PARSER_MSV70;
			} else if (received_command[0] == 'M' && received_command[1] == 'S'
					&& received_command[2] == 'V' && received_command[3] == '?'
					&& received_command[4] != '0') {

				terminal_parser_state = PARSER_MSV7;
			} else if (received_command[0] == 'I' && received_command[1] == 'D'
					&& received_command[2] == 'N'
					&& received_command[3] == '?') {

				terminal_parser_state = PARSER_IDN7;
			} else if (received_command[0] == 'A' && received_command[1] == 'D'
					&& received_command[2] == 'R'
					&& received_command[3] == '?') {

				terminal_parser_state = PARSER_ADR7;
			} else if (received_command[0] == 'A' && received_command[1] == 'D'
					&& received_command[2] == 'R'
					&& received_command[3] != '?') {

				terminal_parser_state = PARSER_ADRNUM;
			} else if (received_command[0] == 'B' && received_command[1] == 'D'
					&& received_command[2] == 'R') {

				terminal_parser_state = PARSER_BDR;
			} else if (received_command[0] == 'B' && received_command[1] == 'D'
					&& received_command[2] == 'R') {

				terminal_parser_state = PARSER_DEGREE;

			} else if (received_command[0] == 'C' && received_command[1] == 'O'
					&& received_command[2] == 'F') {

				terminal_parser_state = PARSER_COF;
			}

			RX_command_count = 0;
			//	RX_command_buff[0] = 0;
			//vTaskNotifyGiveFromISR( rxCommandsTaskHandle, &xHigherPriorityTaskWoken );
			xQueueSendToBack(g_mesQueue, received_command, 0);
			memset(received_command, 0, sizeof(received_command));
		}
		extended_debug("New state = %d\r\n", terminal_parser_state);
		RX_command_buff[0] = 0;
		HAL_UART_Receive_IT(terminal_uart, RX_command_buff, 1);
		extended_debug("Receive from handler\r\n");
	}

}

void HAL_UART_TxCpltCallback(UART_HandleTypeDef *huart) {	//Callback-функция завершения передачи данных
	if (huart == &huart2 ) {
		//osDelay(1);
		HAL_GPIO_WritePin(GPIOD, GPIO_PIN_4, GPIO_PIN_RESET);
	}
	if (huart == debug_uart) {
		reset_debug_variables();
	}
}

void check_errors() {
	if(HAL_RTCEx_BKUPRead(&hrtc, RTC_BKP_DR0) == 0xBBBB){
		HAL_GPIO_WritePin(LED_ERROR_GPIO_Port, LED_ERROR_Pin, GPIO_PIN_SET);
		HAL_PWR_EnableBkUpAccess();
		HAL_RTCEx_BKUPWrite(&hrtc, RTC_BKP_DR0, 0x0000);
		is_error = true;
		debug("==================== REBOOT REASON: HardFault ====================\r\n");
	}

	if(HAL_RTCEx_BKUPRead(&hrtc, RTC_BKP_DR0) == 0xAAAA){
		HAL_GPIO_WritePin(LED_ERROR_GPIO_Port, LED_ERROR_Pin, GPIO_PIN_SET);
		HAL_PWR_EnableBkUpAccess();
		HAL_RTCEx_BKUPWrite(&hrtc, RTC_BKP_DR0, 0x0000);
		is_error = true;
		debug("==================== REBOOT REASON: ErrorHandler ====================\r\n");
	}
}
void ADS_Callback(uint32_t value){

	 ads_val = value;
		char ADS_val_prin[50]; //size of the number
		int len5 =  sprintf(ADS_val_prin, "ADS_VAL: %d\n\r", ads_val);

		//HAL_UART_Transmit (&huart3, ADS_val_prin, len5, 100);

}
/* USER CODE END Application */
